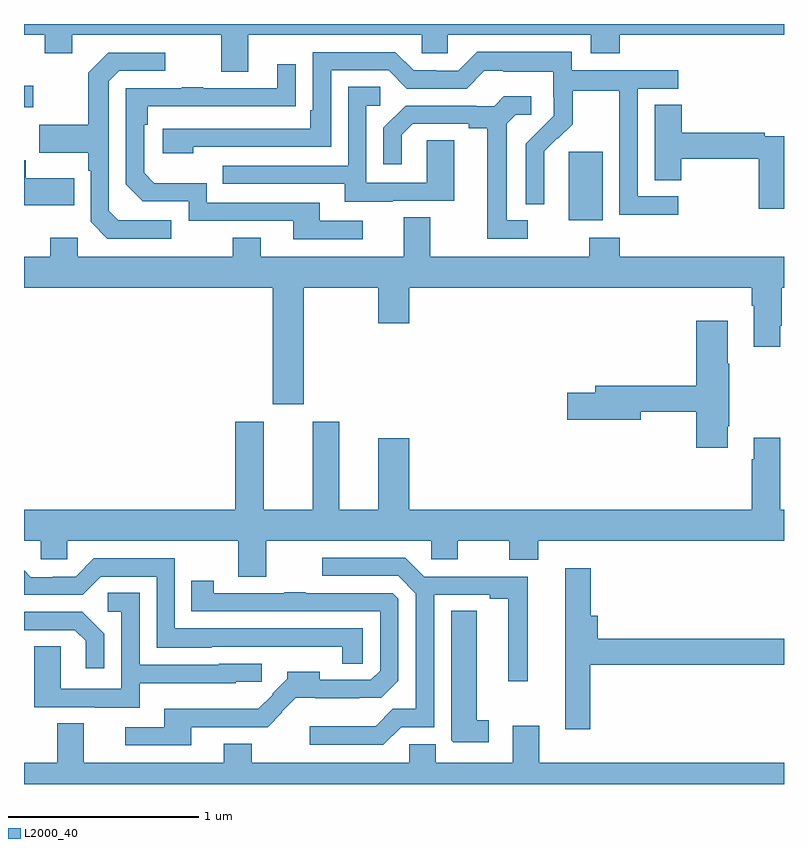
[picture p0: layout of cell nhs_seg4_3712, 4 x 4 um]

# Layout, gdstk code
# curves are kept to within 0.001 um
import gdstk
lib = gdstk.Library(unit=1e-6, precision=1e-09)
def R(c, l, rs):  # rectangles x0, y0, x1, y1
    for r in rs: c.add(gdstk.rectangle(r[:2], r[2:], *l))
def P(c, l, *ps):  # polygons
    for p in ps: c.add(gdstk.Polygon(p, *l))
L2000_40 = (2000, 40)

nhs_seg4_3712 = lib.new_cell('nhs_seg4_3712')
R(nhs_seg4_3712, L2000_40, [(309.866,771.866,310.045,772.227), (307,772.463,307.048,772.576)])
P(nhs_seg4_3712, L2000_40, [(308.179,772.844),(309.093,772.844),(309.093,772.746),(309.231,772.746),(309.231,772.844),(309.983,772.844),(309.983,772.745),(310.136,772.745),(310.136,772.844),(311,772.844),(311,772.9),(307,772.9),(307,772.844),(307.108,772.844),(307.108,772.745),(307.255,772.745),(307.255,772.844),(308.039,772.844),(308.039,772.65),(308.179,772.65)],
  [(310.444,771.993),(310.23,771.993),(310.23,772.56),(310.444,772.56),(310.444,772.656),(309.882,772.656),(309.882,772.753),(309.385,772.753),(309.285,772.653),(309.17,772.653),(309.17,772.656),(309.051,772.656),(308.955,772.752),(308.52,772.752),(308.52,772.447),(308.507,772.447),(308.507,772.35),(307.731,772.35),(307.731,772.22),(307.892,772.22),(307.892,772.254),(308.616,772.254),(308.616,772.656),(308.919,772.656),(309.015,772.56),(309.33,772.56),(309.423,772.653),(309.523,772.653),(309.523,772.649),(309.786,772.649),(309.786,772.515),(309.788,772.515),(309.788,772.418),(309.642,772.27),(309.642,771.952),(309.738,771.952),(309.737,772.229),(309.807,772.299),(309.81,772.296),(309.887,772.373),(309.887,772.548),(310.132,772.548),(310.132,772.324),(310.134,772.324),(310.134,771.895),(310.444,771.895)],
  [(307.774,771.867),(307.497,771.867),(307.446,771.918),(307.446,772.599),(307.5,772.653),(307.744,772.653),(307.744,772.749),(307.443,772.749),(307.338,772.643),(307.338,772.371),(307.081,772.371),(307.081,772.223),(307.338,772.223),(307.338,772.127),(307.35,772.127),(307.35,771.858),(307.437,771.771),(307.774,771.771)],
  [(308.782,771.864),(308.557,771.864),(308.557,771.96),(307.962,771.96),(307.962,772.063),(307.685,772.063),(307.632,772.116),(307.632,772.37),(307.652,772.37),(307.652,772.467),(308.429,772.468),(308.429,772.687),(308.333,772.687),(308.333,772.563),(307.943,772.563),(307.943,772.568),(307.831,772.568),(307.831,772.563),(307.536,772.563),(307.536,772.056),(307.626,771.966),(307.866,771.966),(307.866,771.864),(308.417,771.864),(308.417,771.768),(308.782,771.768)],
  [(308.941,771.969),(309.265,771.969),(309.265,772.289),(309.12,772.289),(309.12,772.065),(308.802,772.065),(308.802,772.47),(308.875,772.47),(308.875,772.571),(308.706,772.571),(308.706,772.155),(308.047,772.155),(308.047,772.059),(308.687,772.059),(308.687,771.965),(308.941,771.965)],
  [(309.652,771.867),(309.541,771.867),(309.541,772.375),(309.588,772.422),(309.67,772.422),(309.67,772.519),(309.526,772.519),(309.474,772.467),(309.38,772.467),(309.38,772.47),(309.008,772.47),(308.892,772.354),(308.892,772.161),(308.989,772.161),(308.989,772.317),(309.046,772.374),(309.341,772.374),(309.341,772.352),(309.437,772.352),(309.437,771.771),(309.652,771.771)],
  [(311,772.308),(310.898,772.308),(310.898,772.328),(310.463,772.328),(310.463,772.475),(310.319,772.475),(310.319,772.078),(310.458,772.078),(310.458,772.192),(310.867,772.192),(310.867,771.927),(311,771.927)],
  [(307.265,772.087),(307.009,772.087),(307.009,772.183),(307,772.183),(307,771.947),(307.265,771.947)],
  [(308.473,771.512),(308.864,771.512),(308.864,771.324),(309.028,771.324),(309.028,771.512),(310.829,771.512),(310.829,771.416),(310.841,771.416),(310.841,771.201),(310.981,771.201),(310.981,771.313),(310.989,771.313),(310.989,771.512),(311,771.512),(311,771.676),(310.136,771.676),(310.136,771.775),(309.976,771.775),(309.976,771.676),(309.139,771.676),(309.139,771.884),(308.999,771.884),(308.999,771.676),(308.245,771.676),(308.245,771.775),(308.098,771.775),(308.098,771.676),(307.284,771.676),(307.284,771.775),(307.138,771.775),(307.138,771.676),(307,771.676),(307,771.512),(308.309,771.512),(308.309,770.898),(308.473,770.898)],
  [(310.705,770.782),(310.713,770.782),(310.713,771.113),(310.705,771.113),(310.705,771.337),(310.538,771.337),(310.538,770.996),(310.007,770.996),(310.007,770.96),(309.858,770.96),(309.858,770.818),(310.246,770.818),(310.246,770.86),(310.538,770.86),(310.538,770.67),(310.705,770.67)],
  [(308.275,770.18),(309.144,770.18),(309.144,770.082),(309.283,770.082),(309.283,770.18),(309.554,770.18),(309.554,770.081),(309.707,770.081),(309.707,770.18),(311,770.18),(311,770.344),(310.981,770.344),(310.981,770.722),(310.841,770.722),(310.841,770.609),(310.829,770.609),(310.829,770.344),(309.028,770.344),(309.028,770.719),(308.864,770.719),(308.864,770.344),(308.659,770.344),(308.659,770.806),(308.519,770.806),(308.519,770.344),(308.263,770.344),(308.263,770.806),(308.111,770.806),(308.111,770.344),(307,770.344),(307,770.18),(307.089,770.18),(307.089,770.082),(307.227,770.082),(307.227,770.18),(308.128,770.18),(308.128,769.99),(308.275,769.99)],
  [(308.985,769.2),(309.159,769.2),(309.159,769.896),(309.452,769.896),(309.452,769.876),(309.548,769.876),(309.548,769.44),(309.652,769.44),(309.652,769.992),(309.106,769.992),(309.007,770.091),(308.571,770.091),(308.571,769.995),(308.97,769.995),(309.063,769.902),(309.063,769.295),(308.942,769.295),(308.851,769.204),(308.505,769.204),(308.505,769.107),(308.892,769.107)],
  [(308.784,769.719),(307.794,769.719),(307.794,770.088),(307.368,770.088),(307.272,769.992),(307.152,769.992),(307.152,769.989),(307.035,769.989),(307,770.024),(307,769.896),(307.308,769.896),(307.404,769.992),(307.698,769.992),(307.698,769.616),(307.989,769.616),(307.989,769.623),(308.676,769.622),(308.676,769.534),(308.784,769.534)],
  [(309.98,769.528),(311,769.528),(311,769.664),(310.019,769.664),(310.019,769.786),(309.983,769.786),(309.983,770.035),(309.848,770.035),(309.848,769.188),(309.98,769.188)],
  [(307.879,769.2),(308.283,769.2),(308.359,769.277),(308.357,769.279),(308.431,769.353),(308.765,769.352),(308.765,769.354),(308.881,769.354),(308.97,769.443),(308.97,769.875),(308.94,769.905),(308.483,769.905),(308.483,769.91),(308.371,769.91),(308.371,769.905),(307.998,769.905),(307.998,769.969),(307.879,769.969),(307.879,769.809),(308.874,769.809),(308.874,769.497),(308.826,769.449),(308.557,769.449),(308.557,769.492),(308.386,769.492),(308.386,769.453),(308.307,769.374),(308.31,769.371),(308.234,769.295),(308.132,769.295),(308.132,769.297),(307.739,769.297),(307.739,769.2),(307.533,769.2),(307.533,769.104),(307.879,769.104)],
  [(307.609,769.43),(308.115,769.43),(308.115,769.437),(308.25,769.437),(308.25,769.533),(308.025,769.533),(308.025,769.527),(307.608,769.527),(307.608,769.907),(307.44,769.907),(307.44,769.806),(307.512,769.806),(307.512,769.401),(307.194,769.401),(307.194,769.625),(307.055,769.625),(307.055,769.305),(307.373,769.305),(307.373,769.301),(307.609,769.301)],
  [(309.445,769.235),(309.382,769.235),(309.382,769.811),(309.248,769.811),(309.248,769.129),(309.258,769.119),(309.445,769.119)],
  [(307.422,769.69),(307.306,769.806),(307,769.806),(307,769.71),(307.268,769.71),(307.325,769.653),(307.325,769.509),(307.422,769.509)],
  [(311,769.012),(309.712,769.012),(309.712,769.207),(309.572,769.207),(309.572,769.012),(309.166,769.012),(309.166,769.11),(309.027,769.11),(309.027,769.012),(308.199,769.012),(308.199,769.111),(308.051,769.111),(308.051,769.012),(307.315,769.012),(307.315,769.22),(307.175,769.22),(307.175,769.012),(307,769.012),(307,768.9),(311,768.9)])

lib.write_gds('nhs_seg4_3712.gds')
